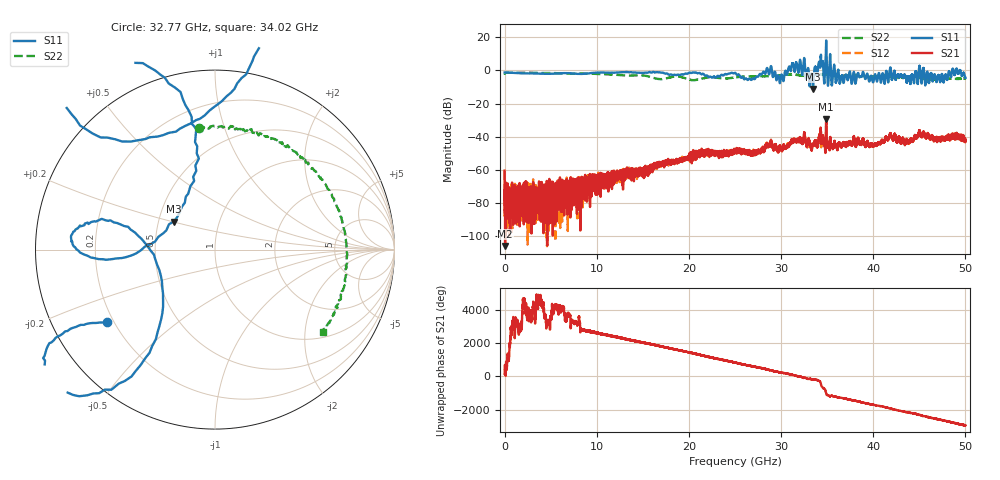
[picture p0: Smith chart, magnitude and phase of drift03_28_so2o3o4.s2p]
!Created with skrf (http://scikit-rf.org).
# Hz S RI R 50.0
!freq ReS11 ImS11 ReS21 ImS21 ReS12 ImS12 ReS22 ImS22
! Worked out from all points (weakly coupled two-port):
!   10001 points, 300 kHz to 50 GHz, reference 50 ohm
!   highest |S21| = -29.28 dB at 34.89 GHz (marker M1); lowest = -105.9 dB at 55.3 MHz (marker M2)
!   lowest |S11| = -11.1 dB at 33.47 GHz (marker M3), VSWR 1.77, Z = 30.1 + j10.2 ohm
!   |S11| at or under -10 dB: 33.44682 GHz to 33.48619 GHz (39.37 MHz wide, 0.118 % of centre)
!   |S22| runs from -5.9 to -1.3 dB; largest |S21 - S12| = 0.0069
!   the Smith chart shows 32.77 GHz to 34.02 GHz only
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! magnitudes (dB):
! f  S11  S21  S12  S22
! 300 kHz  -1.3  -60.5  -60.9  -2.0
! 55.3 MHz  -1.3  -105.9  -76.8  -1.6
! 255.3 MHz  -1.3  -74.9  -74.3  -1.4
! 440.3 MHz  -1.4  -74.8  -76.7  -1.5
! 5.595 GHz  -1.9  -70.3  -75.6  -1.7
! 8.335 GHz  -2.2  -68.1  -68.1  -1.9
! 16.67 GHz  -1.1  -56.3  -56.2  -5.2
! 25 GHz  -1.5  -48.0  -48.5  -4.3
! 26.92 GHz  -4.9  -49.6  -48.6  -3.5
! 28.73 GHz  -2.2  -45.2  -45.0  -3.5
! 30.06 GHz  -2.5  -47.8  -47.6  -2.9
! 31.87 GHz  -1.5  -42.9  -41.9  -2.9
! 33.34 GHz  -2.2  -47.9  -47.2  -2.9
! 33.47 GHz  -11.1  -44.8  -45.4  -2.8
! 34.3 GHz  7.8  -34.5  -34.3  -2.3
! 34.89 GHz  17.6  -29.3  -31.0  -2.4
! 36.58 GHz  -3.4  -45.4  -46.2  -3.6
! 40.18 GHz  -2.5  -44.5  -44.1  -3.7
! 41.67 GHz  -5.6  -41.0  -40.7  -3.7
! 43.84 GHz  -3.5  -43.6  -43.6  -3.9
! 45.2 GHz  -5.9  -39.0  -39.3  -4.5
! 50 GHz  -4.6  -42.8  -41.9  -5.0
